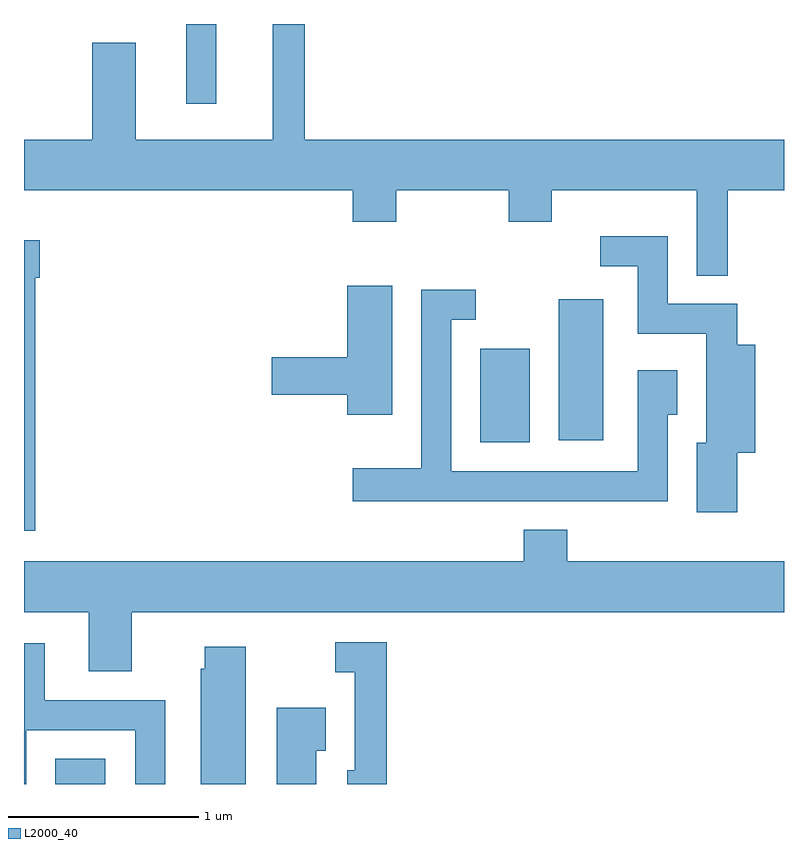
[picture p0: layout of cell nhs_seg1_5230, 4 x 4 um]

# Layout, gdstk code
import gdstk
lib = gdstk.Library(unit=1e-6, precision=1e-09)
def R(c, l, rs):  # rectangles x0, y0, x1, y1
    for r in rs: c.add(gdstk.rectangle(r[:2], r[2:], *l))
def P(c, l, *ps):  # polygons
    for p in ps: c.add(gdstk.Polygon(p, *l))
L2000_40 = (2000, 40)

nhs_seg1_5230 = lib.new_cell('nhs_seg1_5230')
R(nhs_seg1_5230, L2000_40, [(341.776,969.712,342.039,969.844), (344.011,971.511,344.274,972.004), (344.426,971.521,344.659,972.264), (342.466,973.293,342.624,973.712)])
P(nhs_seg1_5230, L2000_40, [(341.971,973.614),(341.971,973.104),(341.611,973.104),(341.611,972.836),(343.341,972.836),(343.341,972.671),(343.569,972.671),(343.569,972.836),(344.161,972.836),(344.161,972.671),(344.389,972.671),(344.389,972.836),(345.151,972.836),(345.151,972.388),(345.314,972.388),(345.314,972.836),(345.611,972.836),(345.611,973.104),(343.089,973.104),(343.089,973.712),(342.921,973.712),(342.921,973.104),(342.199,973.104),(342.199,973.614)],
  [(345.364,971.456),(345.459,971.456),(345.459,972.024),(345.364,972.024),(345.364,972.239),(344.999,972.239),(344.999,972.594),(344.643,972.594),(344.643,972.436),(344.841,972.436),(344.841,972.081),(345.201,972.081),(345.201,971.509),(345.151,971.509),(345.151,971.141),(345.364,971.141)],
  [(341.669,972.376),(341.694,972.376),(341.694,972.574),(341.611,972.574),(341.611,971.046),(341.669,971.046)],
  [(343.549,972.334),(343.311,972.334),(343.311,971.959),(342.916,971.959),(342.916,971.761),(343.311,971.761),(343.311,971.656),(343.549,971.656)],
  [(344.999,971.656),(345.049,971.656),(345.049,971.889),(344.841,971.889),(344.841,971.359),(343.859,971.359),(343.859,972.156),(343.988,972.156),(343.988,972.314),(343.701,972.314),(343.701,971.374),(343.341,971.374),(343.341,971.201),(344.999,971.201)],
  [(345.611,970.884),(344.469,970.884),(344.469,971.049),(344.241,971.049),(344.241,970.884),(341.611,970.884),(341.611,970.616),(341.951,970.616),(341.951,970.306),(342.179,970.306),(342.179,970.616),(345.611,970.616)],
  [(343.519,970.459),(343.248,970.459),(343.248,970.301),(343.351,970.301),(343.351,969.784),(343.311,969.784),(343.311,969.712),(343.519,969.712)],
  [(341.624,969.996),(342.196,969.996),(342.196,969.712),(342.354,969.712),(342.354,970.154),(341.719,970.154),(341.719,970.454),(341.611,970.454),(341.611,969.712),(341.624,969.712)],
  [(342.779,970.434),(342.561,970.434),(342.561,970.319),(342.541,970.319),(342.541,969.712),(342.779,969.712)],
  [(343.149,969.886),(343.199,969.886),(343.199,970.114),(342.941,970.114),(342.941,969.712),(343.149,969.712)])

lib.write_gds('nhs_seg1_5230.gds')
